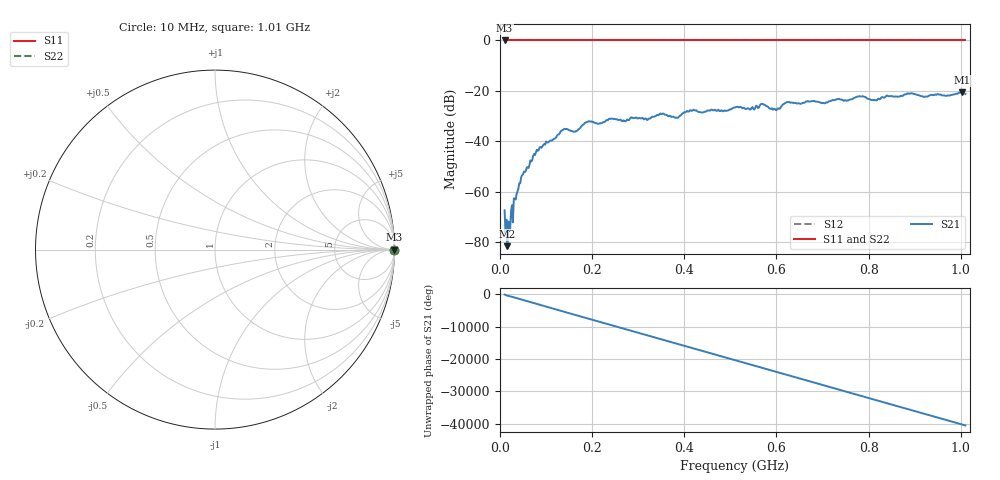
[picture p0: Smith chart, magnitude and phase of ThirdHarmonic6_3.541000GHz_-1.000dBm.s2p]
! 8/17/2025 11:39:53 AM
! C:\ANRITSUVNA\TEMP\TEMP.S2P
! CHANNEL.1
! TR.MEASUREMENT
! RAW.DATA
! RF.CORRECTION.OFF
! AVERAGING.OFF
! IF.BANDWIDTH: 5KHZ
! SWEEPTYPE:  FREQ.SWEEP(Linear)
! Reference Plane Port Info
! PORT:  PORT1  PORT2
! DISTANCE:  0  m  0  m
! TIME:  0  s  0  s
! PHASE.OFFSET:  0  deg.  0  deg.
! LOSS:  0  dB  0  dB
! REF.LOSS:  0  dB  0  dB
! REF.FREQ:  0  Hz  0  Hz
! Power Info
! POWER:  -20  dBm  -20  dBm
! EFF.POWER:  -20  dBm  -20  dBm
! SOURCE.ATTEN:  0  dB  0  dB
! TEST.ATTEN:  0  dB  0  dB
# GHZ S RI R 50.0
! FREQ.GHZ  S11RE  S11IM  S21RE  S21IM  S12RE  S12IM  S22RE  S22IM
!; PortSelection: Port_12
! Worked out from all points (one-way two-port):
!   501 points, 10 MHz to 1.01 GHz, reference 50 ohm
!   highest |S21| = -20.52 dB at 1.002 GHz (marker M1); lowest = -81.7 dB at 16 MHz (marker M2)
!   lowest |S11| = 0.0 dB at 10 MHz (marker M3)
!   |S11| at or under -10 dB: nowhere
!   |S22| runs from 0.0 to 0.0 dB; largest |S21 - S12| = 1.1
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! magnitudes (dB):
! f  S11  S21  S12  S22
! 10 MHz  0.0  -67.5  0.0  0.0
! 16 MHz  0.0  -81.7  0.0  0.0
! 20 MHz  0.0  -72.4  0.0  0.0
! 28 MHz  0.0  -72.2  0.0  0.0
! 46 MHz  0.0  -54.3  0.0  0.0
! 76 MHz  0.0  -45.5  0.0  0.0
! 136 MHz  0.0  -35.6  0.0  0.0
! 164 MHz  0.0  -36.2  0.0  0.0
! 178 MHz  0.0  -33.8  0.0  0.0
! 194 MHz  0.0  -32.1  0.0  0.0
! 322 MHz  0.0  -31.1  0.0  0.0
! 344 MHz  0.0  -29.7  0.0  0.0
! 384 MHz  0.0  -30.7  0.0  0.0
! 416 MHz  0.0  -28.0  0.0  0.0
! 510 MHz  0.0  -26.6  0.0  0.0
! 570 MHz  0.0  -25.2  0.0  0.0
! 596 MHz  0.0  -27.1  0.0  0.0
! 624 MHz  0.0  -24.5  0.0  0.0
! 678 MHz  0.0  -24.1  0.0  0.0
! 844 MHz  0.0  -22.2  0.0  0.0
! 1.002 GHz  0.0  -20.5  0.0  0.0
! 1.01 GHz  0.0  -21.2  0.0  0.0
